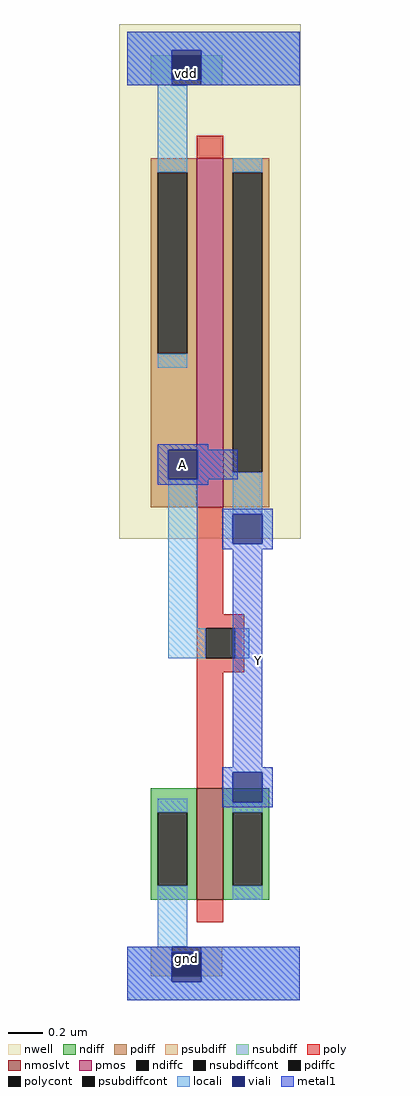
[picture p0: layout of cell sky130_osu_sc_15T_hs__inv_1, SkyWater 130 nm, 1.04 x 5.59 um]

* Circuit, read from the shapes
.subckt sky130_osu_sc_15T_hs__inv_1 Y A
XM1 Y A gnd gnd sky130_fd_pr__nfet_01v8_lvt w=0.64 l=0.15
XM2 Y A vdd vdd sky130_fd_pr__pfet_01v8 w=2 l=0.15
.ends

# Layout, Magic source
magic
tech sky130A
magscale 1 2
<< nwell >>
rect -9 529 199 1119
<< nmoslvt >>
rect 80 115 110 243
<< pmos >>
rect 80 565 110 965
<< ndiff >>
rect 27 215 80 243
rect 27 131 35 215
rect 69 131 80 215
rect 27 115 80 131
rect 110 215 163 243
rect 110 131 121 215
rect 155 131 163 215
rect 110 115 163 131
<< pdiff >>
rect 27 949 80 965
rect 27 741 35 949
rect 69 741 80 949
rect 27 565 80 741
rect 110 949 163 965
rect 110 605 121 949
rect 155 605 163 949
rect 110 565 163 605
<< ndiffc >>
rect 35 131 69 215
rect 121 131 155 215
<< pdiffc >>
rect 35 741 69 949
rect 121 605 155 949
<< psubdiff >>
rect 27 27 51 61
rect 85 27 109 61
<< nsubdiff >>
rect 27 1049 51 1083
rect 85 1049 109 1083
<< psubdiffcont >>
rect 51 27 85 61
<< nsubdiffcont >>
rect 51 1049 85 1083
<< poly >>
rect 80 965 110 991
rect 80 442 110 565
rect 80 426 134 442
rect 80 392 90 426
rect 124 392 134 426
rect 80 376 134 392
rect 80 243 110 376
rect 80 89 110 115
<< polycont >>
rect 90 392 124 426
<< locali >>
rect 0 1089 198 1110
rect 0 1049 51 1089
rect 85 1049 198 1089
rect 35 949 69 1049
rect 35 725 69 741
rect 121 949 155 965
rect 47 426 81 597
rect 121 557 155 605
rect 47 392 90 426
rect 124 392 140 426
rect 35 215 69 231
rect 35 61 69 131
rect 121 215 155 227
rect 121 115 155 131
rect 0 21 51 61
rect 85 21 198 61
rect 0 0 198 21
<< viali >>
rect 51 1083 85 1089
rect 51 1055 85 1083
rect 47 597 81 631
rect 121 523 155 557
rect 121 227 155 261
rect 51 27 85 55
rect 51 21 85 27
<< metal1 >>
rect 0 1089 198 1110
rect 0 1055 51 1089
rect 85 1055 198 1089
rect 0 1049 198 1055
rect 35 631 93 637
rect 35 597 47 631
rect 81 597 127 631
rect 35 591 93 597
rect 109 557 167 563
rect 109 523 121 557
rect 155 523 167 557
rect 109 517 167 523
rect 121 267 155 517
rect 109 261 167 267
rect 109 227 121 261
rect 155 227 167 261
rect 109 221 167 227
rect 0 55 198 61
rect 0 21 51 55
rect 85 21 198 55
rect 0 0 198 21
<< labels >>
rlabel metal1 151 389 151 389 1 Y
port 1 n
rlabel viali 64 614 64 614 1 A
port 2 n
rlabel viali 68 48 68 48 1 gnd
rlabel viali 68 1062 68 1062 1 vdd
<< end >>
